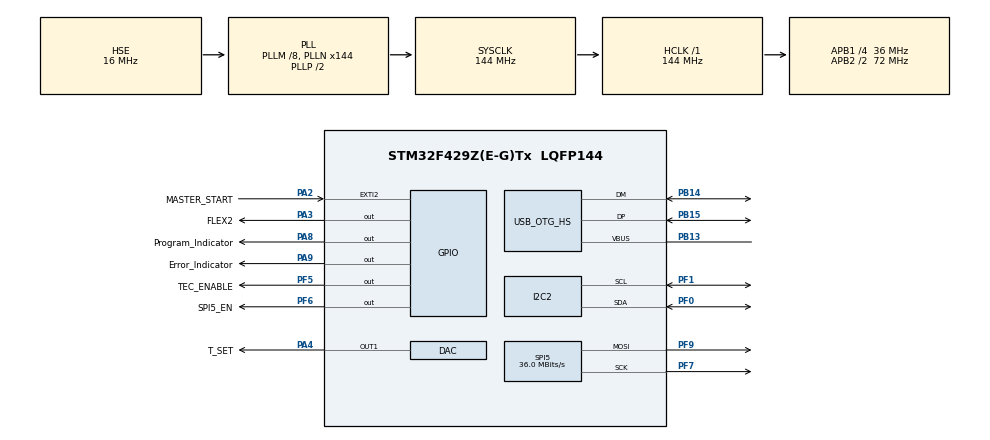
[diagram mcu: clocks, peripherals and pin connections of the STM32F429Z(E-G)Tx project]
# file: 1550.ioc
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Dma.I2C2_RX.1.Direction=DMA_PERIPH_TO_MEMORY
Dma.I2C2_RX.1.FIFOMode=DMA_FIFOMODE_DISABLE
Dma.I2C2_RX.1.Instance=DMA1_Stream2
Dma.I2C2_RX.1.MemDataAlignment=DMA_MDATAALIGN_BYTE
Dma.I2C2_RX.1.MemInc=DMA_MINC_ENABLE
Dma.I2C2_RX.1.Mode=DMA_NORMAL
Dma.I2C2_RX.1.PeriphDataAlignment=DMA_PDATAALIGN_BYTE
Dma.I2C2_RX.1.PeriphInc=DMA_PINC_DISABLE
Dma.I2C2_RX.1.Priority=DMA_PRIORITY_LOW
Dma.Request0=SPI5_TX
Dma.Request1=I2C2_RX
Dma.SPI5_TX.0.Direction=DMA_MEMORY_TO_PERIPH
Dma.SPI5_TX.0.FIFOMode=DMA_FIFOMODE_DISABLE
Dma.SPI5_TX.0.Instance=DMA2_Stream6
Dma.SPI5_TX.0.MemDataAlignment=DMA_MDATAALIGN_BYTE
Dma.SPI5_TX.0.MemInc=DMA_MINC_ENABLE
Dma.SPI5_TX.0.Mode=DMA_NORMAL
Dma.SPI5_TX.0.PeriphDataAlignment=DMA_PDATAALIGN_BYTE
Dma.SPI5_TX.0.PeriphInc=DMA_PINC_DISABLE
Dma.SPI5_TX.0.Priority=DMA_PRIORITY_LOW
Mcu.Family=STM32F4
Mcu.Name=STM32F429Z(E-G)Tx
Mcu.Package=LQFP144
NVIC.DMA1_Stream2_IRQn=true\:5\:0\:true\:false\:true\:false\:true\:true
NVIC.DMA2_Stream6_IRQn=true\:1\:0\:true\:false\:true\:false\:false\:true
NVIC.EXTI2_IRQn=true\:2\:0\:true\:false\:true\:true\:false\:false
NVIC.I2C2_ER_IRQn=true\:5\:0\:true\:false\:true\:true\:true\:true
NVIC.I2C2_EV_IRQn=true\:5\:0\:true\:false\:true\:true\:true\:true
NVIC.OTG_HS_IRQn=true\:10\:0\:true\:false\:true\:false\:true\:true
NVIC.PriorityGroup=NVIC_PRIORITYGROUP_4
NVIC.TIM1_UP_TIM10_IRQn=true\:15\:0\:false\:false\:true\:false\:true\:true
NVIC.TIM6_DAC_IRQn=true\:5\:0\:true\:false\:true\:true\:true\:true
NVIC.TimeBase=TIM1_UP_TIM10_IRQn
NVIC.TimeBaseIP=TIM10
PA0/WKUP.GPIO_Label=PHOTODIODE
PA0/WKUP.GPIO_Mode=GPIO_MODE_ANALOG
PA0/WKUP.Signal=ADCx_IN0
PA13.Mode=Serial_Wire
PA13.Signal=SYS_JTMS-SWDIO
PA14.Mode=Serial_Wire
PA14.Signal=SYS_JTCK-SWCLK
PA2.GPIO_Label=MASTER_START
PA2.GPIO_ModeDefaultEXTI=GPIO_MODE_IT_RISING_FALLING
PA2.GPIO_PuPd=GPIO_NOPULL
PA2.Signal=GPXTI2
PA3.GPIO_Label=FLEX2
PA3.Signal=GPIO_Output
PA4.GPIO_Label=T_SET
PA4.Signal=COMP_DAC1_group
PA8.GPIO_Label=Program_Indicator
PA8.PinState=GPIO_PIN_RESET
PA8.Signal=GPIO_Output
PA9.GPIO_Label=Error_Indicator
PA9.PinState=GPIO_PIN_RESET
PA9.Signal=GPIO_Output
PB13.Mode=Activate_VBUS_FS
PB13.Signal=USB_OTG_HS_VBUS
PB14.Mode=Device_Only_FS
PB14.Signal=USB_OTG_HS_DM
PB15.Mode=Device_Only_FS
PB15.Signal=USB_OTG_HS_DP
PF0.Mode=I2C
PF0.Signal=I2C2_SDA
PF1.Mode=I2C
PF1.Signal=I2C2_SCL
PF5.GPIO_Label=TEC_ENABLE
PF5.GPIO_PuPd=GPIO_PULLDOWN
PF5.PinState=GPIO_PIN_RESET
PF5.Signal=GPIO_Output
PF6.GPIO_Label=SPI5_EN
PF6.GPIO_PuPd=GPIO_PULLUP
PF6.GPIO_Speed=GPIO_SPEED_FREQ_MEDIUM
PF6.PinState=GPIO_PIN_SET
PF6.Signal=GPIO_Output
PF7.Mode=TX_Only_Simplex_Unidirect_Master
PF7.Signal=SPI5_SCK
PF9.Mode=TX_Only_Simplex_Unidirect_Master
PF9.Signal=SPI5_MOSI
PH0/OSC_IN.Mode=HSE-External-Oscillator
PH0/OSC_IN.Signal=RCC_OSC_IN
PH1/OSC_OUT.Mode=HSE-External-Oscillator
PH1/OSC_OUT.Signal=RCC_OSC_OUT
ProjectManager.HeapSize=0x200
ProjectManager.StackSize=0x400
ProjectManager.TargetToolchain=CMake
RCC.48MHZClocksFreq_Value=48000000
RCC.AHBFreq_Value=144000000
RCC.APB1CLKDivider=RCC_HCLK_DIV4
RCC.APB1Freq_Value=36000000
RCC.APB1TimFreq_Value=144000000
RCC.APB2CLKDivider=RCC_HCLK_DIV2
RCC.APB2Freq_Value=72000000
RCC.APB2TimFreq_Value=144000000
RCC.CortexFreq_Value=144000000
RCC.HCLKFreq_Value=144000000
RCC.HSE_VALUE=16000000
RCC.HSI_VALUE=16000000
RCC.LSE_VALUE=32768
RCC.PLLM=8
RCC.PLLN=144
RCC.PLLQ=6
RCC.PWREXT_OverDrive=PWREXT_OverDrive_DESACTIVATED
RCC.RCC_TIM_PRescaler_Selection=RCC_TIMPRES_ACTIVATED
RCC.SYSCLKFreq_VALUE=144000000
RCC.SYSCLKSource=RCC_SYSCLKSOURCE_PLLCLK
RCC.VCOOutputFreq_Value=288000000
SH.ADCx_IN0.0=ADC1_IN0
SH.COMP_DAC1_group.0=DAC_OUT1,DAC_OUT1
SPI5.BaudRatePrescaler=SPI_BAUDRATEPRESCALER_2
SPI5.CLKPhase=SPI_PHASE_2EDGE
SPI5.CalculateBaudRate=36.0 MBits/s
SPI5.DataSize=SPI_DATASIZE_8BIT
SPI5.Direction=SPI_DIRECTION_2LINES
SPI5.Mode=SPI_MODE_MASTER
SPI5.TIMode=SPI_TIMODE_DISABLE
SPI5.VirtualType=VM_MASTER
TIM6.AutoReloadPreload=TIM_AUTORELOAD_PRELOAD_ENABLE
TIM6.Period=999
TIM6.Prescaler=3599
USB_DEVICE.APP_RX_DATA_SIZE-CDC_HS=512
USB_DEVICE.APP_TX_DATA_SIZE-CDC_HS=512
USB_DEVICE.CLASS_NAME_HS=CDC
USB_DEVICE.MANUFACTURER_STRING-CDC_HS=Ultracoustics Technologies
USB_DEVICE.PID_CDC_HS=0xA001
USB_DEVICE.PRODUCT_STRING_CDC_HS=Broadsonic
USB_DEVICE.VID-CDC_HS=0x2E9D
USB_DEVICE.VirtualMode-CDC_HS=Cdc
USB_DEVICE.VirtualModeHS=Cdc_HS
USB_OTG_HS.VirtualMode-Device_Only_FS=Device_Only_FS
VP_SYS_VS_tim10.Mode=TIM10
VP_TIM6_VS_ClockSourceINT.Mode=Enable_Timer
VP_USB_DEVICE_VS_USB_DEVICE_CDC_HS.Mode=CDC_HS
board=custom

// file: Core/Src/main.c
/* USER CODE BEGIN Header */
/**
  ******************************************************************************
  * @file           : main.c
  * @brief          : Main program body
  ******************************************************************************
  * @attention
  *
  * Copyright (c) 2026 STMicroelectronics.
  * All rights reserved.
  *
  * This software is licensed under terms that can be found in the LICENSE file
  * in the root directory of this software component.
  * If no LICENSE file comes with this software, it is provided AS-IS.
  *
  ******************************************************************************
  */
/* USER CODE END Header */
#include "main.h"
#include "usb_device.h"

/* USER CODE BEGIN Includes */
#include "thermal_control.h"
#include "usb_comm.h"
#include "laser_current.h"
/* USER CODE END Includes */

DAC_HandleTypeDef hdac;

I2C_HandleTypeDef hi2c2;
DMA_HandleTypeDef hdma_i2c2_rx;

SPI_HandleTypeDef hspi5;
DMA_HandleTypeDef hdma_spi5_tx;

TIM_HandleTypeDef htim6;

void SystemClock_Config(void);
void PeriphCommonClock_Config(void);
static void MX_GPIO_Init(void);
static void MX_DMA_Init(void);
static void MX_SPI5_Init(void);
static void MX_DAC_Init(void);
static void MX_I2C2_Init(void);
static void MX_TIM6_Init(void);

int main(void)
{

  /* MCU Configuration--------------------------------------------------------*/

  /* Reset of all peripherals, Initializes the Flash interface and the Systick. */
  HAL_Init();

  /* Configure the system clock */
  SystemClock_Config();

  /* Configure the peripherals common clocks */
  PeriphCommonClock_Config();

  /* USER CODE BEGIN SysInit */
  // Startup indicator LEDS
  HAL_GPIO_WritePin(Program_Indicator_GPIO_Port, Program_Indicator_Pin,
                    GPIO_PIN_SET);
  HAL_GPIO_WritePin(Error_Indicator_GPIO_Port, Error_Indicator_Pin,
                    GPIO_PIN_RESET);
  /* USER CODE END SysInit */

  /* Initialize all configured peripherals */
  MX_GPIO_Init();
  MX_DMA_Init();
  MX_USB_DEVICE_Init();
  MX_SPI5_Init();
  MX_DAC_Init();
  MX_I2C2_Init();
  MX_TIM6_Init();
  /* USER CODE BEGIN 2 */
  Thermal_Init();
  Thermal_Start();
  Laser_Init();
  /* USER CODE END 2 */

  /* Infinite loop */
  /* USER CODE BEGIN WHILE */
  while (1)
  {
    USB_Comm_Process();
    Laser_RunMaintenance(); // if EXTI2 fires before thermal is stable, we have to do this flag check in the main loop to see when we can actually turn on the laser.
    /* USER CODE END WHILE */

  }
}

void SystemClock_Config(void)
{
  RCC_OscInitTypeDef RCC_OscInitStruct = {0};
  RCC_ClkInitTypeDef RCC_ClkInitStruct = {0};

  /** Configure the main internal regulator output voltage
  */
  __HAL_RCC_PWR_CLK_ENABLE();
  __HAL_PWR_VOLTAGESCALING_CONFIG(PWR_REGULATOR_VOLTAGE_SCALE1);

  /** Initializes the RCC Oscillators according to the specified parameters
  * in the RCC_OscInitTypeDef structure.
  */
  RCC_OscInitStruct.OscillatorType = RCC_OSCILLATORTYPE_HSE;
  RCC_OscInitStruct.HSEState = RCC_HSE_ON;
  RCC_OscInitStruct.PLL.PLLState = RCC_PLL_ON;
  RCC_OscInitStruct.PLL.PLLSource = RCC_PLLSOURCE_HSE;
  RCC_OscInitStruct.PLL.PLLM = 8;
  RCC_OscInitStruct.PLL.PLLN = 144;
  RCC_OscInitStruct.PLL.PLLP = RCC_PLLP_DIV2;
  RCC_OscInitStruct.PLL.PLLQ = 6;
  if (HAL_RCC_OscConfig(&RCC_OscInitStruct) != HAL_OK)
  {
    Error_Handler();
  }

  /** Initializes the CPU, AHB and APB buses clocks
  */
  RCC_ClkInitStruct.ClockType = RCC_CLOCKTYPE_HCLK|RCC_CLOCKTYPE_SYSCLK
                              |RCC_CLOCKTYPE_PCLK1|RCC_CLOCKTYPE_PCLK2;
  RCC_ClkInitStruct.SYSCLKSource = RCC_SYSCLKSOURCE_PLLCLK;
  RCC_ClkInitStruct.AHBCLKDivider = RCC_SYSCLK_DIV1;
  RCC_ClkInitStruct.APB1CLKDivider = RCC_HCLK_DIV4;
  RCC_ClkInitStruct.APB2CLKDivider = RCC_HCLK_DIV2;

  if (HAL_RCC_ClockConfig(&RCC_ClkInitStruct, FLASH_LATENCY_4) != HAL_OK)
  {
    Error_Handler();
  }
}

void PeriphCommonClock_Config(void)
{
  RCC_PeriphCLKInitTypeDef PeriphClkInitStruct = {0};

  /** Initializes the peripherals clock
  */
  PeriphClkInitStruct.PeriphClockSelection = RCC_PERIPHCLK_TIM;
  PeriphClkInitStruct.TIMPresSelection = RCC_TIMPRES_ACTIVATED;
  if (HAL_RCCEx_PeriphCLKConfig(&PeriphClkInitStruct) != HAL_OK)
  {
    Error_Handler();
  }
}

static void MX_DAC_Init(void)
{

  DAC_ChannelConfTypeDef sConfig = {0};

  /** DAC Initialization
  */
  hdac.Instance = DAC;
  if (HAL_DAC_Init(&hdac) != HAL_OK)
  {
    Error_Handler();
  }

  /** DAC channel OUT1 config
  */
  sConfig.DAC_Trigger = DAC_TRIGGER_NONE;
  sConfig.DAC_OutputBuffer = DAC_OUTPUTBUFFER_ENABLE;
  if (HAL_DAC_ConfigChannel(&hdac, &sConfig, DAC_CHANNEL_1) != HAL_OK)
  {
    Error_Handler();
  }

}

static void MX_I2C2_Init(void)
{

  hi2c2.Instance = I2C2;
  hi2c2.Init.ClockSpeed = 100000;
  hi2c2.Init.DutyCycle = I2C_DUTYCYCLE_2;
  hi2c2.Init.OwnAddress1 = 0;
  hi2c2.Init.AddressingMode = I2C_ADDRESSINGMODE_7BIT;
  hi2c2.Init.DualAddressMode = I2C_DUALADDRESS_DISABLE;
  hi2c2.Init.OwnAddress2 = 0;
  hi2c2.Init.GeneralCallMode = I2C_GENERALCALL_DISABLE;
  hi2c2.Init.NoStretchMode = I2C_NOSTRETCH_DISABLE;
  if (HAL_I2C_Init(&hi2c2) != HAL_OK)
  {
    Error_Handler();
  }

  /** Configure Analogue filter
  */
  if (HAL_I2CEx_ConfigAnalogFilter(&hi2c2, I2C_ANALOGFILTER_ENABLE) != HAL_OK)
  {
    Error_Handler();
  }

  /** Configure Digital filter
  */
  if (HAL_I2CEx_ConfigDigitalFilter(&hi2c2, 0) != HAL_OK)
  {
    Error_Handler();
  }

}

static void MX_SPI5_Init(void)
{

  /* SPI5 parameter configuration*/
  hspi5.Instance = SPI5;
  hspi5.Init.Mode = SPI_MODE_MASTER;
  hspi5.Init.Direction = SPI_DIRECTION_2LINES;
  hspi5.Init.DataSize = SPI_DATASIZE_8BIT;
  hspi5.Init.CLKPolarity = SPI_POLARITY_LOW;
  hspi5.Init.CLKPhase = SPI_PHASE_2EDGE;
  hspi5.Init.NSS = SPI_NSS_SOFT;
  hspi5.Init.BaudRatePrescaler = SPI_BAUDRATEPRESCALER_2;
  hspi5.Init.FirstBit = SPI_FIRSTBIT_MSB;
  hspi5.Init.TIMode = SPI_TIMODE_DISABLE;
  hspi5.Init.CRCCalculation = SPI_CRCCALCULATION_DISABLE;
  hspi5.Init.CRCPolynomial = 10;
  if (HAL_SPI_Init(&hspi5) != HAL_OK)
  {
    Error_Handler();
  }

}

static void MX_TIM6_Init(void)
{

  TIM_MasterConfigTypeDef sMasterConfig = {0};

  htim6.Instance = TIM6;
  htim6.Init.Prescaler = 3599;
  htim6.Init.CounterMode = TIM_COUNTERMODE_UP;
  htim6.Init.Period = 999;
  htim6.Init.AutoReloadPreload = TIM_AUTORELOAD_PRELOAD_ENABLE;
  if (HAL_TIM_Base_Init(&htim6) != HAL_OK)
  {
    Error_Handler();
  }
  sMasterConfig.MasterOutputTrigger = TIM_TRGO_RESET;
  sMasterConfig.MasterSlaveMode = TIM_MASTERSLAVEMODE_DISABLE;
  if (HAL_TIMEx_MasterConfigSynchronization(&htim6, &sMasterConfig) != HAL_OK)
  {
    Error_Handler();
  }

}

static void MX_DMA_Init(void)
{

  /* DMA controller clock enable */
  __HAL_RCC_DMA2_CLK_ENABLE();
  __HAL_RCC_DMA1_CLK_ENABLE();

  /* DMA interrupt init */
  /* DMA1_Stream2_IRQn interrupt configuration */
  HAL_NVIC_SetPriority(DMA1_Stream2_IRQn, 5, 0);
  HAL_NVIC_EnableIRQ(DMA1_Stream2_IRQn);
  /* DMA2_Stream6_IRQn interrupt configuration */
  HAL_NVIC_SetPriority(DMA2_Stream6_IRQn, 1, 0);
  HAL_NVIC_EnableIRQ(DMA2_Stream6_IRQn);

}

static void MX_GPIO_Init(void)
{
  GPIO_InitTypeDef GPIO_InitStruct = {0};

  /* GPIO Ports Clock Enable */
  __HAL_RCC_GPIOF_CLK_ENABLE();
  __HAL_RCC_GPIOH_CLK_ENABLE();
  __HAL_RCC_GPIOA_CLK_ENABLE();
  __HAL_RCC_GPIOB_CLK_ENABLE();

  /*Configure GPIO pin Output Level */
  HAL_GPIO_WritePin(TEC_ENABLE_GPIO_Port, TEC_ENABLE_Pin, GPIO_PIN_RESET);

  /*Configure GPIO pin Output Level */
  HAL_GPIO_WritePin(SPI5_EN_GPIO_Port, SPI5_EN_Pin, GPIO_PIN_SET);

  /*Configure GPIO pin Output Level */
  HAL_GPIO_WritePin(GPIOA, FLEX2_Pin|Program_Indicator_Pin|Error_Indicator_Pin, GPIO_PIN_RESET);

  /*Configure GPIO pin : TEC_ENABLE_Pin */
  GPIO_InitStruct.Pin = TEC_ENABLE_Pin;
  GPIO_InitStruct.Mode = GPIO_MODE_OUTPUT_PP;
  GPIO_InitStruct.Pull = GPIO_PULLDOWN;
  GPIO_InitStruct.Speed = GPIO_SPEED_FREQ_LOW;
  HAL_GPIO_Init(TEC_ENABLE_GPIO_Port, &GPIO_InitStruct);

  /*Configure GPIO pin : SPI5_EN_Pin */
  GPIO_InitStruct.Pin = SPI5_EN_Pin;
  GPIO_InitStruct.Mode = GPIO_MODE_OUTPUT_PP;
  GPIO_InitStruct.Pull = GPIO_PULLUP;
  GPIO_InitStruct.Speed = GPIO_SPEED_FREQ_MEDIUM;
  HAL_GPIO_Init(SPI5_EN_GPIO_Port, &GPIO_InitStruct);

  /*Configure GPIO pin : PHOTODIODE_Pin */
  GPIO_InitStruct.Pin = PHOTODIODE_Pin;
  GPIO_InitStruct.Mode = GPIO_MODE_ANALOG;
  GPIO_InitStruct.Pull = GPIO_NOPULL;
  HAL_GPIO_Init(PHOTODIODE_GPIO_Port, &GPIO_InitStruct);

  /*Configure GPIO pin : MASTER_START_Pin */
  GPIO_InitStruct.Pin = MASTER_START_Pin;
  GPIO_InitStruct.Mode = GPIO_MODE_IT_RISING_FALLING;
  GPIO_InitStruct.Pull = GPIO_NOPULL;
  HAL_GPIO_Init(MASTER_START_GPIO_Port, &GPIO_InitStruct);

  /*Configure GPIO pins : FLEX2_Pin Program_Indicator_Pin Error_Indicator_Pin */
  GPIO_InitStruct.Pin = FLEX2_Pin|Program_Indicator_Pin|Error_Indicator_Pin;
  GPIO_InitStruct.Mode = GPIO_MODE_OUTPUT_PP;
  GPIO_InitStruct.Pull = GPIO_NOPULL;
  GPIO_InitStruct.Speed = GPIO_SPEED_FREQ_LOW;
  HAL_GPIO_Init(GPIOA, &GPIO_InitStruct);

  /* EXTI interrupt init*/
  HAL_NVIC_SetPriority(EXTI2_IRQn, 2, 0);

}

/* USER CODE BEGIN 4 */
void HAL_I2C_MemRxCpltCallback(I2C_HandleTypeDef *hi2c)
{
  if (hi2c->Instance == I2C2)
  {
    Thermal_I2C_DMAComplete_Handler();
  }
}
/* USER CODE END 4 */

void HAL_TIM_PeriodElapsedCallback(TIM_HandleTypeDef *htim)
{
  if (htim->Instance == TIM10)
  {
    HAL_IncTick();
  }
  /* USER CODE BEGIN Callback 1 */
  else if (htim->Instance == TIM6)
  {
    Thermal_TIM6_Handler();
  }
  /* USER CODE END Callback 1 */
}

void Error_Handler(void)
{
  __disable_irq();
  while (1)
  {
  }
}
